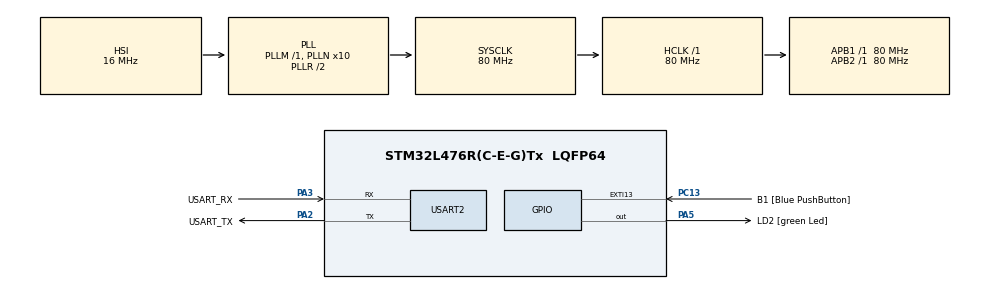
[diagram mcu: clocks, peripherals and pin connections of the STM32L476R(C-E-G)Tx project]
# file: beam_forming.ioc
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Mcu.Family=STM32L4
Mcu.Name=STM32L476R(C-E-G)Tx
Mcu.Package=LQFP64
NVIC.PriorityGroup=NVIC_PRIORITYGROUP_4
PA13\ (JTMS-SWDIO).GPIO_Label=TMS
PA13\ (JTMS-SWDIO).Mode=Serial_Wire
PA13\ (JTMS-SWDIO).Signal=SYS_JTMS-SWDIO
PA14\ (JTCK-SWCLK).GPIO_Label=TCK
PA14\ (JTCK-SWCLK).Mode=Serial_Wire
PA14\ (JTCK-SWCLK).Signal=SYS_JTCK-SWCLK
PA2.GPIO_Label=USART_TX
PA2.GPIO_Mode=GPIO_MODE_AF_PP
PA2.GPIO_PuPd=GPIO_NOPULL
PA2.GPIO_Speed=GPIO_SPEED_FREQ_VERY_HIGH
PA2.Mode=Asynchronous
PA2.Signal=USART2_TX
PA3.GPIO_Label=USART_RX
PA3.GPIO_Mode=GPIO_MODE_AF_PP
PA3.GPIO_PuPd=GPIO_NOPULL
PA3.GPIO_Speed=GPIO_SPEED_FREQ_VERY_HIGH
PA3.Mode=Asynchronous
PA3.Signal=USART2_RX
PA5.GPIO_Label=LD2 [green Led]
PA5.GPIO_ModeDefaultOutputPP=GPIO_MODE_OUTPUT_PP
PA5.GPIO_PuPd=GPIO_NOPULL
PA5.GPIO_Speed=GPIO_SPEED_FREQ_LOW
PA5.Signal=GPIO_Output
PB3\ (JTDO-TRACESWO).GPIO_Label=SWO
PB3\ (JTDO-TRACESWO).Signal=SYS_JTDO-SWO
PC13.GPIO_Label=B1 [Blue PushButton]
PC13.GPIO_ModeDefaultEXTI=GPIO_MODE_IT_FALLING
PC13.GPIO_PuPd=GPIO_NOPULL
PC13.Signal=GPXTI13
PC14-OSC32_IN\ (PC14).Mode=LSE-External-Oscillator
PC14-OSC32_IN\ (PC14).Signal=RCC_OSC32_IN
PC15-OSC32_OUT\ (PC15).Mode=LSE-External-Oscillator
PC15-OSC32_OUT\ (PC15).Signal=RCC_OSC32_OUT
PH0-OSC_IN\ (PH0).Signal=RCC_OSC_IN
PH1-OSC_OUT\ (PH1).Signal=RCC_OSC_OUT
ProjectManager.HeapSize=0x200
ProjectManager.StackSize=0x400
ProjectManager.TargetToolchain=STM32CubeIDE
RCC.ADCFreq_Value=64000000
RCC.AHBFreq_Value=80000000
RCC.APB1Freq_Value=80000000
RCC.APB1TimFreq_Value=80000000
RCC.APB2Freq_Value=80000000
RCC.APB2TimFreq_Value=80000000
RCC.CortexFreq_Value=80000000
RCC.HCLKFreq_Value=80000000
RCC.HSE_VALUE=8000000
RCC.HSI_VALUE=16000000
RCC.MSI_VALUE=4000000
RCC.PLLN=10
RCC.PLLSourceVirtual=RCC_PLLSOURCE_HSI
RCC.PREFETCH_ENABLE=1
RCC.SYSCLKFreq_VALUE=80000000
RCC.SYSCLKSource=RCC_SYSCLKSOURCE_PLLCLK
RCC.USBFreq_Value=64000000
RCC.VCOOutputFreq_Value=160000000
USART2.VirtualMode-Asynchronous=VM_ASYNC
board=NUCLEO-L476RG

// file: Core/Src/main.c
/* USER CODE BEGIN Header */
/**
  ******************************************************************************
  * @file           : main.c
  * @brief          : Main program body
  ******************************************************************************
  * @attention
  *
  * Copyright (c) 2025 STMicroelectronics.
  * All rights reserved.
  *
  * This software is licensed under terms that can be found in the LICENSE file
  * in the root directory of this software component.
  * If no LICENSE file comes with this software, it is provided AS-IS.
  *
  ******************************************************************************
  */
/* USER CODE END Header */
#include "main.h"

/* USER CODE BEGIN Includes */
#include "cube_hal.h"
#include "audio_application.h"
/* USER CODE END Includes */

UART_HandleTypeDef huart2;

/* USER CODE BEGIN PV */
USBD_HandleTypeDef hUSBDDevice;
extern USBD_AUDIO_ItfTypeDef  USBD_AUDIO_fops;
/* USER CODE END PV */

void SystemClock_Config(void);
static void MX_GPIO_Init(void);
static void MX_USART2_UART_Init(void);

int main(void)
{

  /* MCU Configuration--------------------------------------------------------*/

  /* Reset of all peripherals, Initializes the Flash interface and the Systick. */
  HAL_Init();

  /* USER CODE BEGIN Init */
  /* Enable Power Clock*/
  __HAL_RCC_PWR_CLK_ENABLE();
  /* enable USB power on Pwrctrl CR2 register */
  HAL_PWREx_EnableVddUSB();
  /* USER CODE END Init */

  /* Configure the system clock */
  SystemClock_Config();

  /* USER CODE BEGIN SysInit */
  /* Initialize USB descriptor basing on channels number and sampling frequency */
  USBD_AUDIO_Init_Microphone_Descriptor(&hUSBDDevice, AUDIO_IN_SAMPLING_FREQUENCY, AUDIO_IN_CHANNELS);
  /* Init Device Library */
  USBD_Init(&hUSBDDevice, &AUDIO_Desc, 0);
  /* Add Supported Class */
  USBD_RegisterClass(&hUSBDDevice, &USBD_AUDIO);
  /* Add Interface callbacks for AUDIO Class */
  USBD_AUDIO_RegisterInterface(&hUSBDDevice, &USBD_AUDIO_fops);
  /* Start Device Process */
  USBD_Start(&hUSBDDevice);
  /* USER CODE END SysInit */

  /* Initialize all configured peripherals */
  MX_GPIO_Init();
  MX_USART2_UART_Init();
  /* USER CODE BEGIN 2 */
  /* Start audio acquisition and streaming */
#ifdef DISABLE_USB_DRIVEN_ACQUISITION
  Init_Acquisition_Peripherals(AUDIO_IN_SAMPLING_FREQUENCY, AUDIO_IN_CHANNELS, 0);
  Start_Acquisition();
#endif /* DISABLE_USB_DRIVEN_ACQUISITION */
  /* USER CODE END 2 */

  /* Infinite loop */
  while (1)
  {

  }
}

void SystemClock_Config(void)
{
  RCC_OscInitTypeDef RCC_OscInitStruct = {0};
  RCC_ClkInitTypeDef RCC_ClkInitStruct = {0};

  /** Configure the main internal regulator output voltage
  */
  if (HAL_PWREx_ControlVoltageScaling(PWR_REGULATOR_VOLTAGE_SCALE1) != HAL_OK)
  {
    Error_Handler();
  }

  /** Initializes the RCC Oscillators according to the specified parameters
  * in the RCC_OscInitTypeDef structure.
  */
  RCC_OscInitStruct.OscillatorType = RCC_OSCILLATORTYPE_HSI;
  RCC_OscInitStruct.HSIState = RCC_HSI_ON;
  RCC_OscInitStruct.HSICalibrationValue = RCC_HSICALIBRATION_DEFAULT;
  RCC_OscInitStruct.PLL.PLLState = RCC_PLL_ON;
  RCC_OscInitStruct.PLL.PLLSource = RCC_PLLSOURCE_HSI;
  RCC_OscInitStruct.PLL.PLLM = 1;
  RCC_OscInitStruct.PLL.PLLN = 10;
  RCC_OscInitStruct.PLL.PLLP = RCC_PLLP_DIV7;
  RCC_OscInitStruct.PLL.PLLQ = RCC_PLLQ_DIV2;
  RCC_OscInitStruct.PLL.PLLR = RCC_PLLR_DIV2;
  if (HAL_RCC_OscConfig(&RCC_OscInitStruct) != HAL_OK)
  {
    Error_Handler();
  }

  /** Initializes the CPU, AHB and APB buses clocks
  */
  RCC_ClkInitStruct.ClockType = RCC_CLOCKTYPE_HCLK|RCC_CLOCKTYPE_SYSCLK
                              |RCC_CLOCKTYPE_PCLK1|RCC_CLOCKTYPE_PCLK2;
  RCC_ClkInitStruct.SYSCLKSource = RCC_SYSCLKSOURCE_PLLCLK;
  RCC_ClkInitStruct.AHBCLKDivider = RCC_SYSCLK_DIV1;
  RCC_ClkInitStruct.APB1CLKDivider = RCC_HCLK_DIV1;
  RCC_ClkInitStruct.APB2CLKDivider = RCC_HCLK_DIV1;

  if (HAL_RCC_ClockConfig(&RCC_ClkInitStruct, FLASH_LATENCY_4) != HAL_OK)
  {
    Error_Handler();
  }
}

static void MX_USART2_UART_Init(void)
{

  huart2.Instance = USART2;
  huart2.Init.BaudRate = 115200;
  huart2.Init.WordLength = UART_WORDLENGTH_8B;
  huart2.Init.StopBits = UART_STOPBITS_1;
  huart2.Init.Parity = UART_PARITY_NONE;
  huart2.Init.Mode = UART_MODE_TX_RX;
  huart2.Init.HwFlowCtl = UART_HWCONTROL_NONE;
  huart2.Init.OverSampling = UART_OVERSAMPLING_16;
  huart2.Init.OneBitSampling = UART_ONE_BIT_SAMPLE_DISABLE;
  huart2.AdvancedInit.AdvFeatureInit = UART_ADVFEATURE_NO_INIT;
  if (HAL_UART_Init(&huart2) != HAL_OK)
  {
    Error_Handler();
  }

}

static void MX_GPIO_Init(void)
{
  GPIO_InitTypeDef GPIO_InitStruct = {0};

  /* GPIO Ports Clock Enable */
  __HAL_RCC_GPIOC_CLK_ENABLE();
  __HAL_RCC_GPIOH_CLK_ENABLE();
  __HAL_RCC_GPIOA_CLK_ENABLE();
  __HAL_RCC_GPIOB_CLK_ENABLE();

  /*Configure GPIO pin Output Level */
  HAL_GPIO_WritePin(LD2_GPIO_Port, LD2_Pin, GPIO_PIN_RESET);

  /*Configure GPIO pin : B1_Pin */
  GPIO_InitStruct.Pin = B1_Pin;
  GPIO_InitStruct.Mode = GPIO_MODE_IT_FALLING;
  GPIO_InitStruct.Pull = GPIO_NOPULL;
  HAL_GPIO_Init(B1_GPIO_Port, &GPIO_InitStruct);

  /*Configure GPIO pin : LD2_Pin */
  GPIO_InitStruct.Pin = LD2_Pin;
  GPIO_InitStruct.Mode = GPIO_MODE_OUTPUT_PP;
  GPIO_InitStruct.Pull = GPIO_NOPULL;
  GPIO_InitStruct.Speed = GPIO_SPEED_FREQ_LOW;
  HAL_GPIO_Init(LD2_GPIO_Port, &GPIO_InitStruct);

}

void Error_Handler(void)
{
  __disable_irq();
  while (1)
  {
  }
}
